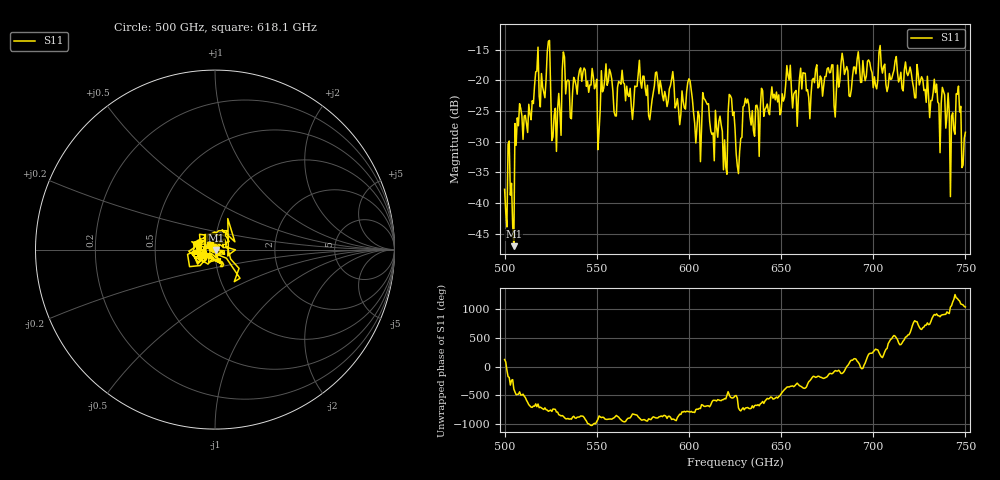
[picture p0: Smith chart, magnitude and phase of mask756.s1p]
!Created with skrf (http://scikit-rf.org).
# GHz S MA R 50.0
!freq magS11 angS11
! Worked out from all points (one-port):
!   401 points, 500 GHz to 750 GHz, reference 50 ohm
!   lowest |S11| = -47.0 dB at 505 GHz (marker M1), VSWR 1.01, Z = 50.4 - j0.228 ohm
!   |S11| at or under -10 dB: start of sweep to end of sweep
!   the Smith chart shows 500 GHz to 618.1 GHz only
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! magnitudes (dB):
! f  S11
! 500 GHz  -37.8
! 505 GHz  -47.0
! 506.9 GHz  -26.1
! 513.1 GHz  -23.9
! 516.9 GHz  -18.6
! 523.8 GHz  -13.6
! 526.9 GHz  -25.7
! 531.2 GHz  -18.3
! 548.8 GHz  -21.4
! 550.6 GHz  -31.3
! 562.5 GHz  -20.3
! 579.4 GHz  -24.8
! 590.6 GHz  -19.8
! 593.8 GHz  -23.0
! 600 GHz  -19.7
! 605 GHz  -25.0
! 608.8 GHz  -23.2
! 619.4 GHz  -29.7
! 623.1 GHz  -22.9
! 625 GHz  -27.8
! 626.9 GHz  -35.2
! 630.6 GHz  -22.9
! 656.2 GHz  -24.5
! 687.5 GHz  -22.6
! 718.8 GHz  -19.2
! 743.1 GHz  -25.3
! 746.2 GHz  -20.9
! 750 GHz  -28.5
